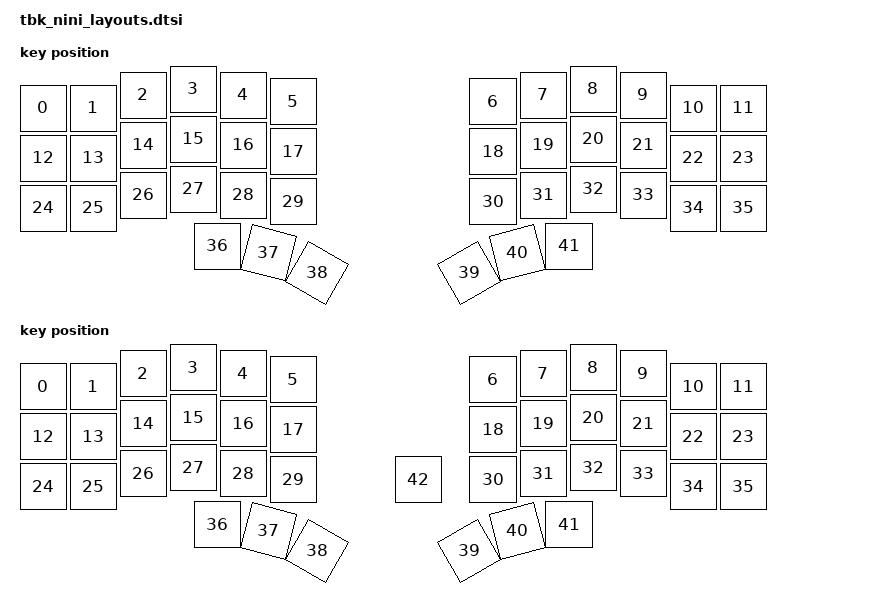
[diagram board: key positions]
#include <physical_layouts.dtsi>
#include "position_map.dtsi"

/ {
  tbk_nini_6col_layout: tbk_nini_6col_layout {
    compatible = "zmk,physical-layout";
    display-name = "6 column";
    keys  //                     w   h    x    y     rot    rx    ry
      = <&key_physical_attrs 100 100    0   38       0     0     0>
      , <&key_physical_attrs 100 100  100   38       0     0     0>
      , <&key_physical_attrs 100 100  200   12       0     0     0>
      , <&key_physical_attrs 100 100  300    0       0     0     0>
      , <&key_physical_attrs 100 100  400   12       0     0     0>
      , <&key_physical_attrs 100 100  500   25       0     0     0>
      , <&key_physical_attrs 100 100  900   25       0     0     0>
      , <&key_physical_attrs 100 100 1000   12       0     0     0>
      , <&key_physical_attrs 100 100 1100    0       0     0     0>
      , <&key_physical_attrs 100 100 1200   12       0     0     0>
      , <&key_physical_attrs 100 100 1300   38       0     0     0>
      , <&key_physical_attrs 100 100 1400   38       0     0     0>
      , <&key_physical_attrs 100 100    0  138       0     0     0>
      , <&key_physical_attrs 100 100  100  138       0     0     0>
      , <&key_physical_attrs 100 100  200  112       0     0     0>
      , <&key_physical_attrs 100 100  300  100       0     0     0>
      , <&key_physical_attrs 100 100  400  112       0     0     0>
      , <&key_physical_attrs 100 100  500  125       0     0     0>
      , <&key_physical_attrs 100 100  900  125       0     0     0>
      , <&key_physical_attrs 100 100 1000  112       0     0     0>
      , <&key_physical_attrs 100 100 1100  100       0     0     0>
      , <&key_physical_attrs 100 100 1200  112       0     0     0>
      , <&key_physical_attrs 100 100 1300  138       0     0     0>
      , <&key_physical_attrs 100 100 1400  138       0     0     0>
      , <&key_physical_attrs 100 100    0  238       0     0     0>
      , <&key_physical_attrs 100 100  100  238       0     0     0>
      , <&key_physical_attrs 100 100  200  212       0     0     0>
      , <&key_physical_attrs 100 100  300  200       0     0     0>
      , <&key_physical_attrs 100 100  400  212       0     0     0>
      , <&key_physical_attrs 100 100  500  225       0     0     0>
      , <&key_physical_attrs 100 100  900  225       0     0     0>
      , <&key_physical_attrs 100 100 1000  212       0     0     0>
      , <&key_physical_attrs 100 100 1100  200       0     0     0>
      , <&key_physical_attrs 100 100 1200  212       0     0     0>
      , <&key_physical_attrs 100 100 1300  238       0     0     0>
      , <&key_physical_attrs 100 100 1400  238       0     0     0>
      , <&key_physical_attrs 100 100  348  314       0     0     0>
      , <&key_physical_attrs 100 100  348  314    1500   398   764>
      , <&key_physical_attrs 100 100  348  314    3000   398   764>
      , <&key_physical_attrs 100 100 1052  314 (-3000)  1102   764>
      , <&key_physical_attrs 100 100 1052  314 (-1500)  1102   764>
      , <&key_physical_attrs 100 100 1052  314       0     0     0>
      ;
  };

  tbk_nini_6col_tb_layout: tbk_nini_6col_tb_layout {
    compatible = "zmk,physical-layout";
    display-name = "6 column trackball";
    keys  //                     w   h    x    y     rot    rx    ry
      = <&key_physical_attrs 100 100    0   38       0     0     0>
      , <&key_physical_attrs 100 100  100   38       0     0     0>
      , <&key_physical_attrs 100 100  200   12       0     0     0>
      , <&key_physical_attrs 100 100  300    0       0     0     0>
      , <&key_physical_attrs 100 100  400   12       0     0     0>
      , <&key_physical_attrs 100 100  500   25       0     0     0>
      , <&key_physical_attrs 100 100  900   25       0     0     0>
      , <&key_physical_attrs 100 100 1000   12       0     0     0>
      , <&key_physical_attrs 100 100 1100    0       0     0     0>
      , <&key_physical_attrs 100 100 1200   12       0     0     0>
      , <&key_physical_attrs 100 100 1300   38       0     0     0>
      , <&key_physical_attrs 100 100 1400   38       0     0     0>
      , <&key_physical_attrs 100 100    0  138       0     0     0>
      , <&key_physical_attrs 100 100  100  138       0     0     0>
      , <&key_physical_attrs 100 100  200  112       0     0     0>
      , <&key_physical_attrs 100 100  300  100       0     0     0>
      , <&key_physical_attrs 100 100  400  112       0     0     0>
      , <&key_physical_attrs 100 100  500  125       0     0     0>
      , <&key_physical_attrs 100 100  900  125       0     0     0>
      , <&key_physical_attrs 100 100 1000  112       0     0     0>
      , <&key_physical_attrs 100 100 1100  100       0     0     0>
      , <&key_physical_attrs 100 100 1200  112       0     0     0>
      , <&key_physical_attrs 100 100 1300  138       0     0     0>
      , <&key_physical_attrs 100 100 1400  138       0     0     0>
      , <&key_physical_attrs 100 100    0  238       0     0     0>
      , <&key_physical_attrs 100 100  100  238       0     0     0>
      , <&key_physical_attrs 100 100  200  212       0     0     0>
      , <&key_physical_attrs 100 100  300  200       0     0     0>
      , <&key_physical_attrs 100 100  400  212       0     0     0>
      , <&key_physical_attrs 100 100  500  225       0     0     0>
      , <&key_physical_attrs 100 100  900  225       0     0     0>
      , <&key_physical_attrs 100 100 1000  212       0     0     0>
      , <&key_physical_attrs 100 100 1100  200       0     0     0>
      , <&key_physical_attrs 100 100 1200  212       0     0     0>
      , <&key_physical_attrs 100 100 1300  238       0     0     0>
      , <&key_physical_attrs 100 100 1400  238       0     0     0>
      , <&key_physical_attrs 100 100  348  314       0     0     0>
      , <&key_physical_attrs 100 100  348  314    1500   398   764>
      , <&key_physical_attrs 100 100  348  314    3000   398   764>
      , <&key_physical_attrs 100 100 1052  314 (-3000)  1102   764>
      , <&key_physical_attrs 100 100 1052  314 (-1500)  1102   764>
      , <&key_physical_attrs 100 100 1052  314       0     0     0>
      , <&key_physical_attrs 100 100  750  225       0     0     0>
      ;
  };
};


&tbk_nini_position_map {
  tbk_nini_6col_posmap: six {
    physical-layout = <&tbk_nini_6col_layout>;
    positions
      = < 0  1  2  3  4  5  6  7  8  9 10 11>
      , <12 13 14 15 16 17 18 19 20 21 22 23>
      , <24 25 26 27 28 29 30 31 32 33 34 35>
      , <         36 37 38 39 40 41 42       >;
  };


  tbk_nini_6col_tb_posmap: six_tb {
    physical-layout = <&tbk_nini_6col_tb_layout>;
    positions
      = < 0  1  2  3  4  5  6  7  8  9 10 11>
      , <12 13 14 15 16 17 18 19 20 21 22 23>
      , <24 25 26 27 28 29 30 31 32 33 34 35>
      , <         36 37 38 39 40 41 42      >;
  };
};
